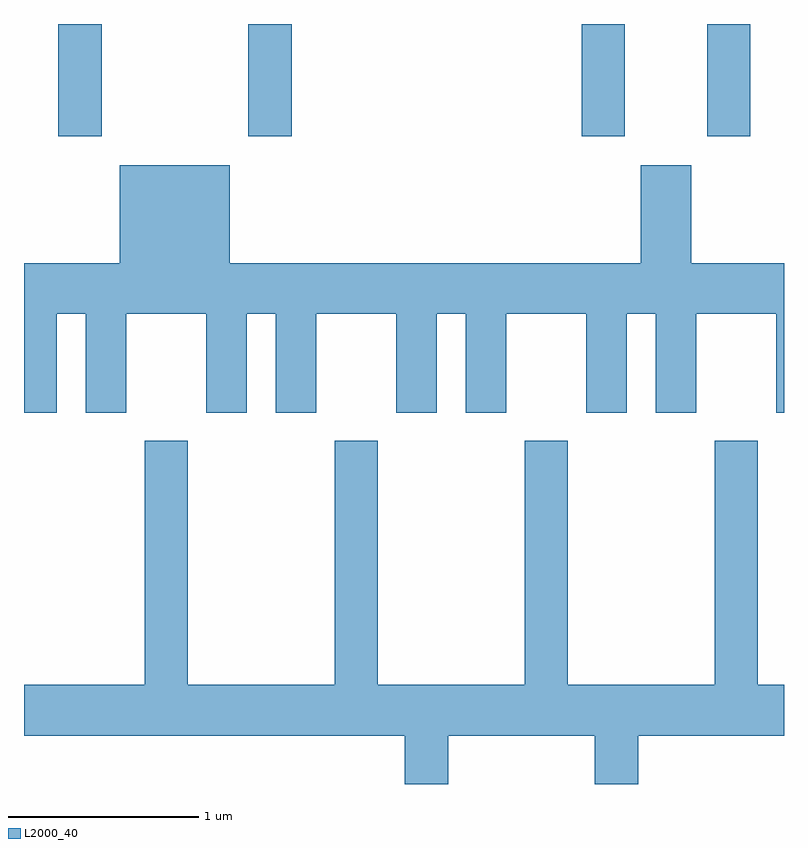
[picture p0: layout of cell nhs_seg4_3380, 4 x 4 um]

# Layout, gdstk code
import gdstk
lib = gdstk.Library(unit=1e-6, precision=1e-09)
def R(c, l, rs):  # rectangles x0, y0, x1, y1
    for r in rs: c.add(gdstk.rectangle(r[:2], r[2:], *l))
def P(c, l, *ps):  # polygons
    for p in ps: c.add(gdstk.Polygon(p, *l))
L2000_40 = (2000, 40)

nhs_seg4_3380 = lib.new_cell('nhs_seg4_3380')
R(nhs_seg4_3380, L2000_40, [(283.791,1353.391,284.019,1353.982), (284.791,1353.391,285.019,1353.982), (286.546,1353.391,286.774,1353.982), (287.206,1353.391,287.434,1353.982)])
P(nhs_seg4_3380, L2000_40, [(283.784,1352.456),(283.936,1352.456),(283.936,1351.936),(284.149,1351.936),(284.149,1352.456),(284.571,1352.456),(284.571,1351.936),(284.784,1351.936),(284.784,1352.456),(284.936,1352.456),(284.936,1351.936),(285.149,1351.936),(285.149,1352.456),(285.571,1352.456),(285.571,1351.936),(285.784,1351.936),(285.784,1352.456),(285.936,1352.456),(285.936,1351.936),(286.149,1351.936),(286.149,1352.456),(286.571,1352.456),(286.571,1351.936),(286.784,1351.936),(286.784,1352.456),(286.936,1352.456),(286.936,1351.936),(287.149,1351.936),(287.149,1352.456),(287.571,1352.456),(287.571,1351.936),(287.611,1351.936),(287.611,1352.724),(287.124,1352.724),(287.124,1353.239),(286.856,1353.239),(286.856,1352.724),(284.694,1352.724),(284.694,1353.239),(284.116,1353.239),(284.116,1352.724),(283.611,1352.724),(283.611,1351.936),(283.784,1351.936)],
  [(285.844,1350.236),(286.616,1350.236),(286.616,1349.982),(286.844,1349.982),(286.844,1350.236),(287.611,1350.236),(287.611,1350.504),(287.474,1350.504),(287.474,1351.789),(287.246,1351.789),(287.246,1350.504),(286.474,1350.504),(286.474,1351.789),(286.246,1351.789),(286.246,1350.504),(285.474,1350.504),(285.474,1351.789),(285.246,1351.789),(285.246,1350.504),(284.474,1350.504),(284.474,1351.789),(284.246,1351.789),(284.246,1350.504),(283.611,1350.504),(283.611,1350.236),(285.616,1350.236),(285.616,1349.982),(285.844,1349.982)])

lib.write_gds('nhs_seg4_3380.gds')
